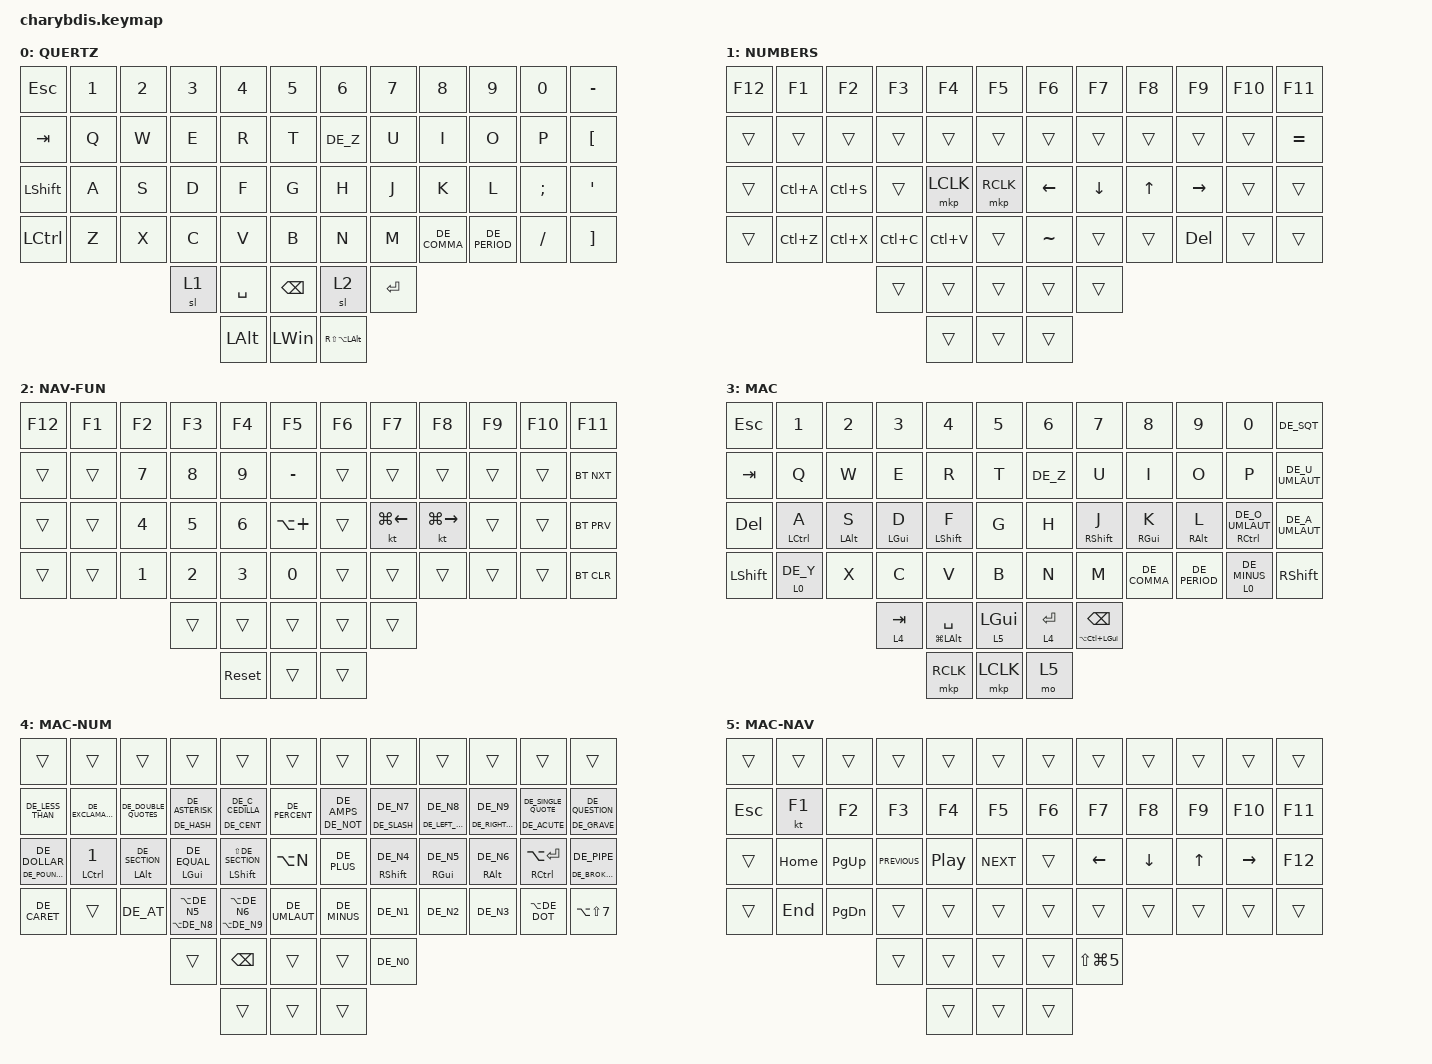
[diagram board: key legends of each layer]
#include "keys_de_swiss.h"
#include <dt-bindings/zmk/mouse.h>
#include <behaviors/mouse_keys.dtsi>
#include <behaviors.dtsi>
#include <dt-bindings/zmk/bt.h>
#include <dt-bindings/zmk/keys.h>
#include <dt-bindings/zmk/pointing.h>

// / {
//     chosen { zmk,matrix_transform = &default_transform; };
// };

/ {
    /* input config for mouse move mode */

    trackball_listener {
        compatible = "zmk,input-behavior-listener";
        device = <&vtrackball>;
        layers = <0 3 6>;
        evt-type = <INPUT_EV_REL>;
        x-input-code = <INPUT_REL_X>;
        y-input-code = <INPUT_REL_Y>;
        scale-multiplier = <1>;
        scale-divisor = <2>;

        // bindings = <&ib_toggle_layer 7>;
    };

    /* input config for snipe mode */

    trackball_snipe_listener {
        compatible = "zmk,input-behavior-listener";
        device = <&vtrackball>;
        layers = <10>;
        evt-type = <INPUT_EV_REL>;
        x-input-code = <INPUT_REL_X>;
        y-input-code = <INPUT_REL_Y>;
        scale-multiplier = <1>;
        scale-divisor = <4>;
    };

    /* input config for mouse scroll mode */

    trackball_scroll_listener {
        compatible = "zmk,input-behavior-listener";
        device = <&vtrackball>;
        layers = <9>;
        evt-type = <INPUT_EV_REL>;
        x-input-code = <INPUT_REL_MISC>;
        y-input-code = <INPUT_REL_WHEEL>;
        y-invert;
        bindings = <&ib_wheel_scaler 1 14>;
    };

    /* define a resolution down scaler only for INPUT_REL_WHEEL */

    ib_wheel_scaler: ib_wheel_scaler {
        compatible = "zmk,input-behavior-scaler";
        #binding-cells = <2>;
        evt-type = <INPUT_EV_REL>;
        input-code = <INPUT_REL_WHEEL>;
    };

    /* adjust cooldown waiting period for mouse key layer after activated */

    ib_toggle_layer: ib_toggle_layer {
        compatible = "zmk,input-behavior-tog-layer";
        #binding-cells = <1>;
        time-to-live-ms = <750>;
    };

    // #define QUERTZ    0
    // #define NUMBERS   1
    // #define NAV-FUN   2
    // #define MAC       3
    // #define MAC-NUM   4
    // #define MAC-NAV   5
    // #define GAME      6
    // #define GAME-NUM  7
    // #define GAME-NAV  8
    // #define SCROLL    9
    // #define SNIPER   10
    // #define FN       11

    combos {
        compatible = "zmk,combos";

        to-WIN {
            bindings = <&to 0>;
            key-positions = <50 51>;
            layers = <3>;
        };

        to-MAC {
            bindings = <&to 3>;
            key-positions = <50 51>;
            layers = <0>;
        };

        CAPZ {
            bindings = <&kp CAPSLOCK>;
            key-positions = <24 25>;
        };
    };

    behaviors {
        hmr: hmr {
            compatible = "zmk,behavior-hold-tap";
            label = "HMR";
            bindings = <&kp>, <&kp>;

            #binding-cells = <2>;
            tapping-term-ms = <190>;
            quick-tap-ms = <175>;
            flavor = "balanced";
            hold-trigger-key-positions = <0 1 2 3 4 5 12 13 14 15 16 17 24 25 26 27 28 29 36 37 38 39 40 41 48 49 50 53 54 51 52 55>;
            hold-trigger-on-release;
        };

        hml: hml {
            compatible = "zmk,behavior-hold-tap";
            label = "HML";
            bindings = <&kp>, <&kp>;

            #binding-cells = <2>;
            tapping-term-ms = <190>;
            quick-tap-ms = <175>;
            flavor = "balanced";
            hold-trigger-key-positions = <48 49 50 53 54 51 52 55 6 7 8 9 10 11 18 19 20 21 22 23 30 31 32 33 34 35 42 43 44 45 46 47 51 52>;
            hold-trigger-on-release;
        };
    };

    keymap {
        compatible = "zmk,keymap";

        default_win_layer {
            bindings = <
&kp ESCAPE      &kp N1  &kp N2  &kp N3  &kp N4        &kp N5           &kp N6                &kp N7     &kp N8        &kp N9         &kp N0    &kp MINUS
&kp TAB         &kp Q   &kp W   &kp E   &kp R         &kp T            &kp DE_Z              &kp U      &kp I         &kp O          &kp P     &kp LBKT
&kp LEFT_SHIFT  &kp A   &kp S   &kp D   &kp F         &kp G            &kp H                 &kp J      &kp K         &kp L          &kp SEMI  &kp APOS
&kp LCTRL       &kp Z   &kp X   &kp C   &kp V         &kp B            &kp N                 &kp M      &kp DE_COMMA  &kp DE_PERIOD  &kp FSLH  &kp RBKT
                                &sl 1   &kp SPACE     &kp BACKSPACE    &sl 2                 &kp ENTER
                                        &kp LEFT_ALT  &kp LEFT_WIN     &kp RS(LA(LEFT_ALT))
            >;

            label = "QUERTZ";
        };

        win_raise_layer {
            bindings = <
&kp F12  &kp F1     &kp F2     &kp F3     &kp F4     &kp F5       &kp F6          &kp F7    &kp F8  &kp F9      &kp F10  &kp F11
&trans   &trans     &trans     &trans     &trans     &trans       &trans          &trans    &trans  &trans      &trans   &kp EQUAL
&trans   &kp LC(A)  &kp LC(S)  &trans     &mkp LCLK  &mkp RCLK    &kp LEFT_ARROW  &kp DOWN  &kp UP  &kp RIGHT   &trans   &trans
&trans   &kp LC(Z)  &kp LC(X)  &kp LC(C)  &kp LC(V)  &trans       &kp TILDE       &trans    &trans  &kp DELETE  &trans   &trans
                               &trans     &trans     &trans       &trans          &trans
                                          &trans     &trans       &trans
            >;

            label = "NUMBERS";
        };

        win_lower_layer {
            bindings = <
&kp F12  &kp F1  &kp F2        &kp F3        &kp F4        &kp F5          &kp F6  &kp F7        &kp F8         &kp F9  &kp F10  &kp F11
&trans   &trans  &kp NUMBER_7  &kp NUMBER_8  &kp NUMBER_9  &kp MINUS       &trans  &trans        &trans         &trans  &trans   &bt BT_NXT
&trans   &trans  &kp NUMBER_4  &kp NUMBER_5  &kp N6        &kp LA(PLUS)    &trans  &kt LG(LEFT)  &kt LG(RIGHT)  &trans  &trans   &bt BT_PRV
&trans   &trans  &kp NUMBER_1  &kp NUMBER_2  &kp NUMBER_3  &kp NUMBER_0    &trans  &trans        &trans         &trans  &trans   &bt BT_CLR
                               &trans        &trans        &trans          &trans  &trans
                                             &sys_reset    &trans          &trans
            >;

            label = "NAV-FUN";
        };

        default_mac_layer {
            label = "MAC";
            bindings = <
&kp ESCAPE      &kp N1               &kp N2           &kp N3           &kp N4                   &kp N5            &kp N6       &kp N7                           &kp N8            &kp N9            &kp N0                          &kp DE_SQT
&kp TAB         &kp Q                &kp W            &kp E            &kp R                    &kp T             &kp DE_Z     &kp U                            &kp I             &kp O             &kp P                           &kp DE_U_UMLAUT
&kp DELETE      &hml LEFT_CONTROL A  &hml LEFT_ALT S  &hml LEFT_GUI D  &hml LEFT_SHIFT F        &kp G             &kp H        &hmr RIGHT_SHIFT J               &hmr RIGHT_GUI K  &hmr RIGHT_ALT L  &hmr RIGHT_CONTROL DE_O_UMLAUT  &kp DE_A_UMLAUT
&kp LEFT_SHIFT  &lt 0 DE_Y           &kp X            &kp C            &kp V                    &kp B             &kp N        &kp M                            &kp DE_COMMA      &kp DE_PERIOD     &lt 0 DE_MINUS                  &kp RSHIFT
                                                      &lt 4 TAB        &hml LG(LEFT_ALT) SPACE  &lt 5 LEFT_GUI    &lt 4 ENTER  &hmr LA(LC(LEFT_GUI)) BACKSPACE
                                                                       &mkp RCLK                &mkp LCLK         &mo 5
            >;
        };

        mac_raise_layer {
            label = "MAC-NUM";
            bindings = <
&trans                        &trans                &trans                    &trans                    &trans                          &trans            &trans               &trans                  &trans                          &trans                           &trans                         &trans
&kp DE_LESS_THAN              &kp DE_EXCLAMATION    &kp DE_DOUBLE_QUOTES      &hml DE_HASH DE_ASTERISK  &hml DE_CENT DE_C_CEDILLA       &kp DE_PERCENT    &hmr DE_NOT DE_AMPS  &hmr DE_SLASH DE_N7     &hmr DE_LEFT_PARENTHESIS DE_N8  &hmr DE_RIGHT_PARENTHESIS DE_N9  &hmr DE_ACUTE DE_SINGLE_QUOTE  &hmr DE_GRAVE DE_QUESTION
&hml DE_POUND_SIGN DE_DOLLAR  &hml LEFT_CONTROL N1  &hml LEFT_ALT DE_SECTION  &hml LEFT_GUI DE_EQUAL    &hml LEFT_SHIFT LS(DE_SECTION)  &kp LA(N)         &kp DE_PLUS          &hmr RIGHT_SHIFT DE_N4  &hmr RIGHT_GUI DE_N5            &hmr RIGHT_ALT DE_N6             &hmr RIGHT_CONTROL LA(RETURN)  &hmr DE_BROKEN_BAR DE_PIPE
&kp DE_CARET                  &trans                &kp DE_AT                 &hml LA(DE_N8) LA(DE_N5)  &hml LA(DE_N9) LA(DE_N6)        &kp DE_UMLAUT     &kp DE_MINUS         &kp DE_N1               &kp DE_N2                       &kp DE_N3                        &kp LA(DE_DOT)                 &kp LA(LS(NUMBER_7))
                                                                              &trans                    &kp BACKSPACE                   &trans            &trans               &kp DE_N0
                                                                                                        &trans                          &trans            &trans
            >;
        };

        mac_lower_layer {
            label = "MAC-NAV";
            bindings = <
&trans      &trans    &trans         &trans          &trans            &trans        &trans  &trans                &trans          &trans        &trans           &trans
&kp ESCAPE  &kt F1    &kp F2         &kp F3          &kp F4            &kp F5        &kp F6  &kp F7                &kp F8          &kp F9        &kp F10          &kp F11
&trans      &kp HOME  &kp PAGE_UP    &kp C_PREVIOUS  &kp C_PLAY_PAUSE  &kp C_NEXT    &trans  &kp LEFT_ARROW        &kp DOWN_ARROW  &kp UP_ARROW  &kp RIGHT_ARROW  &kp F12
&trans      &kp END   &kp PAGE_DOWN  &trans          &trans            &trans        &trans  &trans                &trans          &trans        &trans           &trans
                                     &trans          &trans            &trans        &trans  &kp LS(LG(NUMBER_5))
                                                     &trans            &trans        &trans
            >;
        };
    };
};
